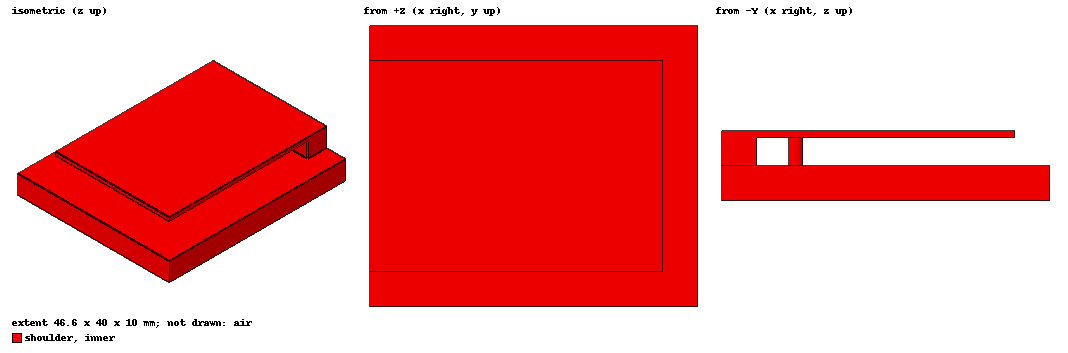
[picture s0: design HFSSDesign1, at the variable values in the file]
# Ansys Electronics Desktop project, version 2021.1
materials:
  vacuum: permittivity=1
  pec: conductivity=1e+30
  copper: permeability=0.999991 conductivity=58000000

design HFSSDesign1 (HFSS, DrivenModal, model units mm)
options: Save_Adaptive_support_files
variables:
  feed_pos = 10.45mm  # optimise 10mm..12mm
  patch_length = 41.6mm
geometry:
  pedestal = box(corner=(0mm, -20mm, 0mm), size=(46.6mm, 40mm, 5mm))
  Box1 = box(corner=(0mm, -15mm, 10mm), size=(patch_length, 30mm, -1mm))
  shoulder [pec] = box(corner=(0mm, -15mm, 5mm), size=(5mm, 30mm, 5mm))
  shoulder.unite(pedestal, Box1)
  inner [pec] = cylinder(axis=Z, base_centre=(feed_pos, 0mm, 1mm), radius=1mm, height=8mm)
  Cylinder1 = cylinder(axis=Z, base_centre=(feed_pos, 0mm, 1mm), radius=2.3mm, height=4mm)
  shoulder.subtract(Cylinder1)
  air [vacuum] = box(corner=(-50mm, -70mm, -50mm), size=(146.6mm, 140mm, 110mm))
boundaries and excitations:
  Rad1: Radiation Faces=air.face(all 6)
  P1: Wave Port Faces=shoulder.face(at (10.45, 0, 1)) NumModes=1 Modes{Mode1{IntLine{middle of shoulder.edge(at (8.15, 0, 1)) -> middle of inner.edge(1 of 2)} CharImp=Zpi}}
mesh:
  initial mesh: GlobalCurvilinear{Apply}
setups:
  Setup1: HfssDriven Frequency=1.8GHz MaxDeltaS=0.01 MaximumPasses=20 MinimumPasses=1 MinimumConvergedPasses=1 PercentRefinement=30 BasisOrder=1 PortAccuracy=2 VariablesForDerivatives(feed_pos) VariableFlagsForDerivatives(1, 1) IESolverType=ACA
    sweep Sweep1: 1.5GHz to 2GHz step 0.001GHz; Type=Interpolating InterpTolerance=0.1 InterpMaxSolns=250 InterpUsePortImped=false
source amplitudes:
  P1:1: 1 0deg
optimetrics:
  ParametricSetup1: Parametric Sim._Setups=[Setup1]
    sweep feed_pos: LIN 9mm 12mm 1mm
  OptimizationSetup1: Optimization Optimizer="Pattern Search" AnalysisStopOptions{StopForNumIteration MaxNumIteration=1000 MinNumIteration=10} CostFuncNormType=L2 PriorPSetup=ParametricSetup1 Acceptable_Cost=0 Noise=0.0001 UpdateDesignWhenDone
    vary feed_pos: Min=10mm Max=12mm MinStep=0.01mm MaxStep=1.1mm MinFocus=10mm MaxFocus=12mm start=10.45mm
    goal dB(S(P1,P1)) <= -20 weight 1 on Setup1 : Sweep1 at Freq 1.8GHz
  OptimizationSetup2: Optimization Optimizer="Pattern Search" AnalysisStopOptions{StopForNumIteration MaxNumIteration=1000 MinNumIteration=10} CostFuncNormType=L2 PriorPSetup=ParametricSetup1 Acceptable_Cost=0 Noise=0.0001 UpdateDesignWhenDone
    vary feed_pos: Min=10mm Max=12mm MinStep=0.01mm MaxStep=1.1mm MinFocus=10mm MaxFocus=12mm start=10.45mm
    goal dB(S(P1,P1)) <= -20 weight 1 on Setup1 : Sweep1 at Freq 1.8GHz
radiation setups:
  Infinite Sphere1: Infinite Sphere Theta=-180deg..180deg step 1deg Phi=0deg..90deg step 90deg
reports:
  S Parameter Plot 1: dB(S(P1,P1)) vs Freq on Setup1 : Sweep1 [feed_pos=10.45mm]
  S Parameter Plot 2: dB(S(P1,P1)) vs Freq on Setup1 : Sweep1 [feed_pos=10.45mm]
